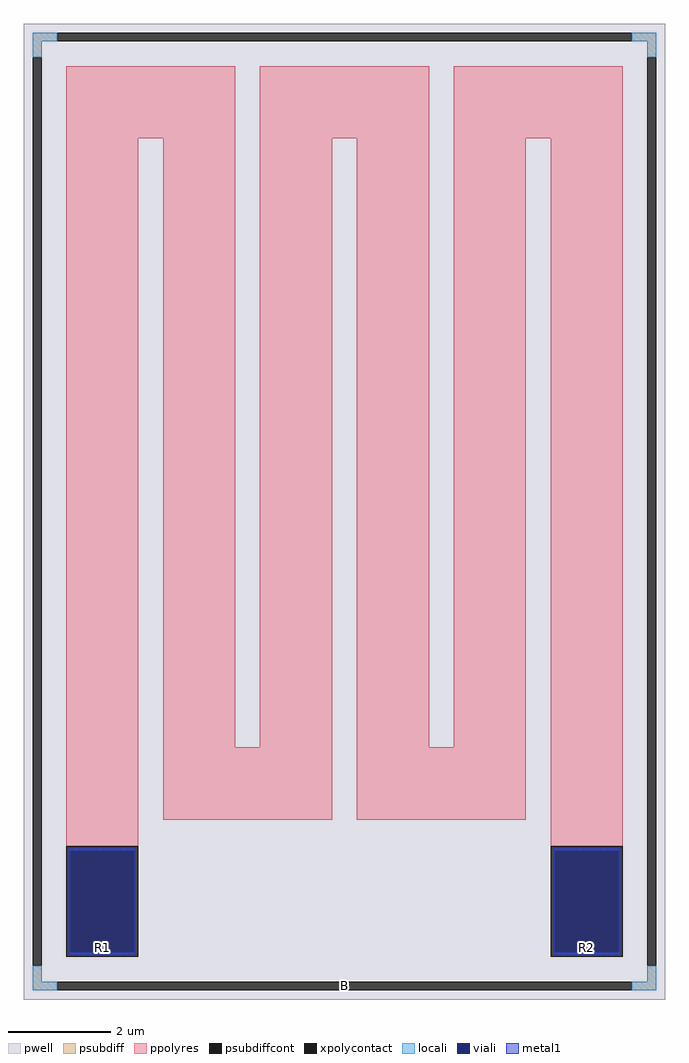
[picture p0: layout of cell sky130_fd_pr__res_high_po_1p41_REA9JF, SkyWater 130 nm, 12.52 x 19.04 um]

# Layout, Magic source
magic
tech sky130A
magscale 1 2
<< pwell >>
rect -1252 -1904 1252 1904
<< psubdiff >>
rect -1216 1834 -1120 1868
rect 1120 1834 1216 1868
rect -1216 1772 -1182 1834
rect 1182 1772 1216 1834
rect -1216 -1834 -1182 -1772
rect 1182 -1834 1216 -1772
rect -1216 -1868 -1120 -1834
rect 1120 -1868 1216 -1834
<< psubdiffcont >>
rect -1120 1834 1120 1868
rect -1216 -1772 -1182 1772
rect 1182 -1772 1216 1772
rect -1120 -1868 1120 -1834
<< xpolycontact >>
rect -1086 -1738 -804 -1306
rect 804 -1738 1086 -1306
<< ppolyres >>
rect -1086 1456 -426 1738
rect -1086 -1306 -804 1456
rect -708 -920 -426 1456
rect -330 1456 330 1738
rect -330 -920 -48 1456
rect -708 -1202 -48 -920
rect 48 -920 330 1456
rect 426 1456 1086 1738
rect 426 -920 708 1456
rect 48 -1202 708 -920
rect 804 -1306 1086 1456
<< locali >>
rect -1216 1834 -1120 1868
rect 1120 1834 1216 1868
rect -1216 1772 -1182 1834
rect 1182 1772 1216 1834
rect -1216 -1834 -1182 -1772
rect 1182 -1834 1216 -1772
rect -1216 -1868 -1120 -1834
rect 1120 -1868 1216 -1834
<< viali >>
rect -1070 -1720 -820 -1323
rect 820 -1720 1070 -1323
<< metal1 >>
rect -1076 -1323 -814 -1311
rect -1076 -1720 -1070 -1323
rect -820 -1720 -814 -1323
rect -1076 -1732 -814 -1720
rect 814 -1323 1076 -1311
rect 814 -1720 820 -1323
rect 1070 -1720 1076 -1323
rect 814 -1732 1076 -1720
<< labels >>
rlabel psubdiffcont 0 -1851 0 -1851 0 B
port 1 nsew
rlabel xpolycontact -945 -1703 -945 -1703 0 R1
port 2 nsew
rlabel xpolycontact 945 -1703 945 -1703 0 R2
port 3 nsew
<< properties >>
string FIXED_BBOX -1199 -1851 1199 1851
string gencell sky130_fd_pr__res_high_po_1p41
string library sky130
string parameters w 1.41 l 14.7 m 1 nx 6 wmin 1.410 lmin 0.50 class resistor rho 319.8 val 21.879k dummy 0 dw 0.0 term 194.82 sterm 0.0 caplen 0 guard 1 glc 1 grc 1 gtc 1 gbc 1 compatible {sky130_fd_pr__res_high_po_0p35  sky130_fd_pr__res_high_po_0p69 sky130_fd_pr__res_high_po_1p41  sky130_fd_pr__res_high_po_2p85 sky130_fd_pr__res_high_po_5p73} snake 1 full_metal 1 wmax 1.410 n_guard 0 hv_guard 0 vias 1 viagb 0 viagt 0 viagl 0 viagr 0 doports 1
<< end >>
